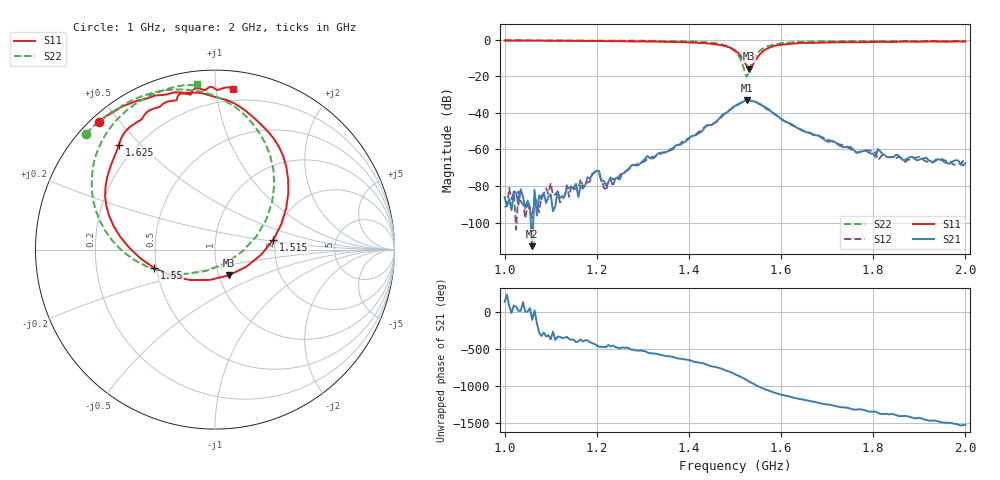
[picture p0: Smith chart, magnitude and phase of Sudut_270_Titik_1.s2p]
# Hz S RI R 50
! CMT, C1220, 16058040, 17.2.0/1
! Date: 14/08/2018 12:58:08
! Data: Format (Calibration Info)
! Freq  S11: Re/Im (F2)  S21: Re/Im (F2)  S12: Re/Im (F2)  S22: Re/Im (F2)
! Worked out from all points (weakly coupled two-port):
!   201 points, 1 GHz to 2 GHz, reference 50 ohm
!   highest |S21| = -32.86 dB at 1.525 GHz (marker M1); lowest = -112.9 dB at 1.06 GHz (marker M2)
!   lowest |S11| = -15.8 dB at 1.53 GHz (marker M3), VSWR 1.39, Z = 55.8 - j16.5 ohm
!   |S11| at or under -10 dB: 1.516 GHz to 1.547 GHz (31.68 MHz wide, 2.07 % of centre)
!   |S22| runs from -20.3 to -0.3 dB; largest |S21 - S12| = 0.00094
!   S11 on the Smith chart (normalised r, x): 1 GHz: 0.02, +0.44; 1.515 GHz: 1.94, +0.23; 1.55 GHz: 0.49, -0.11; 1.625 GHz: 0.14, +0.43; 2 GHz: 0.12, +1.11
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1e9  -0.647 0.7114  -3.76e-05 3.26e-05  -2.36e-05 1.22e-05  -0.7192 0.6457
1.06e9  -0.5836 0.7568  -5.83e-07 -2.18e-06  1.1e-05 7.17e-06  -0.6757 0.6887
1.16e9  -0.4736 0.8131  4.03e-05 -2.97e-05  6.71e-05 -4.92e-05  -0.5874 0.7591
1.165e9  -0.4678 0.8157  9.85e-05 -2.07e-05  0.000154 -1.95e-05  -0.5823 0.7626
1.17e9  -0.4614 0.8186  6.68e-05 -5.24e-05  8.54e-05 -4.12e-05  -0.5768 0.7657
1.2e9  -0.4176 0.833  -4.66e-06 -0.000259  -4.41e-07 -0.000254  -0.5429 0.7776
1.22e9  -0.3899 0.8388  -4.3e-05 -9.53e-05  -7.84e-06 -7.35e-05  -0.5308 0.7909
1.23e9  -0.3731 0.8441  -4.8e-05 -0.000163  -3.41e-05 -0.000151  -0.5198 0.8002
1.235e9  -0.3648 0.8472  -8.88e-06 -0.000153  -6.56e-05 -7.02e-05  -0.5139 0.8041
1.275e9  -0.3018 0.8606  -0.000318 -0.000184  -0.000244 -0.000268  -0.4603 0.8327
1.335e9  -0.1897 0.8747  -0.000663 0.000446  -0.000568 0.000426  -0.3599 0.8698
1.45e9  0.192 0.7554  0.00455 -0.00133  0.00464 -0.00163  0.0465 0.8336
1.5e9  0.4085 0.3149  -0.00827 -0.0131  -0.00777 -0.0123  0.33 0.3614
1.515e9  0.3235 0.0526  -0.019 -0.00444  -0.019 -0.00496  0.23 0.0726
1.525e9  0.174 -0.0955  -0.0212 0.00827  -0.0215 0.00818  0.0592 -0.0757
1.53e9  0.0767 -0.1436  -0.0166 0.0145  -0.0167 0.0146  -0.0496 -0.1186
1.55e9  -0.3378 -0.1033  0.00512 0.0175  0.00443 0.0177  -0.45 -0.0579
1.58e9  -0.6059 0.2453  0.0106 -0.000451  0.0109 -0.000887  -0.6767 0.2652
1.625e9  -0.5358 0.5829  0.000932 -0.00467  0.000985 -0.00438  -0.6497 0.5622
1.67e9  -0.4208 0.718  -0.00179 -0.00172  -0.00189 -0.00178  -0.5664 0.7012
1.835e9  -0.1379 0.863  0.000399 0.000462  0.000414 0.000473  -0.3151 0.878
2e9  0.0981 0.8958  -4.56e-06 -0.000424  -4.65e-05 -0.000529  -0.0976 0.9224
